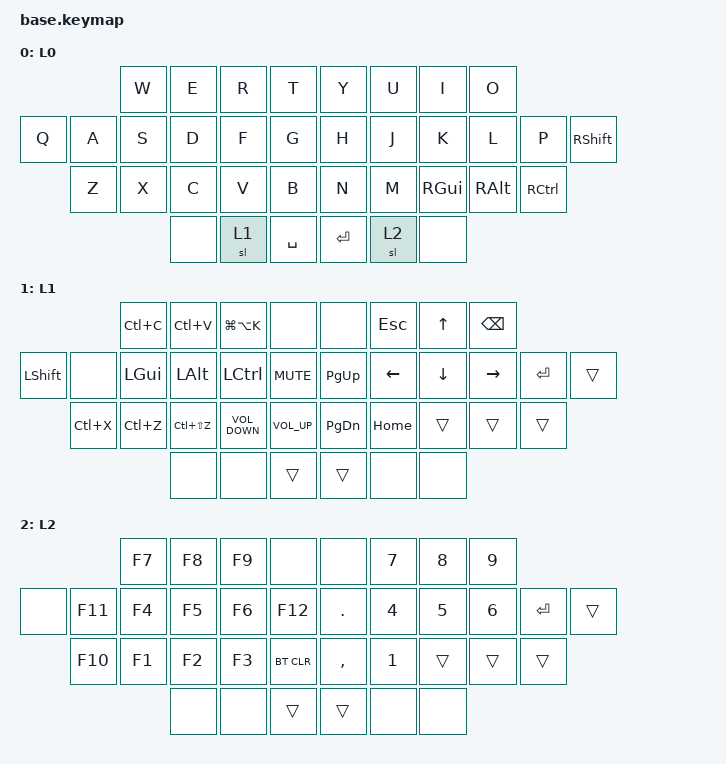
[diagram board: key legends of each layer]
#include <behaviors.dtsi>
#include <dt-bindings/zmk/keys.h>
#include <dt-bindings/zmk/bt.h>
#include <dt-bindings/zmk/outputs.h>

#define U_PST &kp LC(V)
#define U_CPY &kp LC(C)
#define U_CUT &kp LC(X)
#define U_UND &kp LC(Z)
#define U_RDO &kp LC(LS(Z))
#define U_MIC &kp LG(LA(K))

#define BASE 0
#define NAV 1
#define SYM 2
#define NUM 3

#define LOC_G 0
#define LOC_M (LOC_G+1)
#define LOC_P (LOC_G+2)

#define LOC_SQT 5
#define LOC_DQT (LOC_SQT+1)
#define LOC_V (LOC_SQT+2)

#define LOC_X 20
#define LOC_F (LOC_X+1)
#define LOC_L (LOC_X+2)
#define LOC_C (LOC_X+3)

#define LOC_U 26
#define LOC_O (LOC_U+1)
#define LOC_Y (LOC_U+2)
#define LOC_K (LOC_U+3)

#define LOC_NAV 31
#define LOC_SYM (LOC_NAV+3)


/*


                                       L0

            ╭─────┬─────┬─────┬─────╮      ╭─────┬─────┬─────┬─────╮
            │  W  │  E  │  R  │  T  │      │  Y  │  U  │  I  │  O  │ 
╭─────┬─────┼─────┼─────┼─────┼─────┤      ├─────┼─────┼─────┼─────┼─────┬─────╮
│  Q  │  A  │  S  │  D  │  F  │  G  │      │  H  │  J  │  K  │  L  │  P  │ shft│
╰─────┼─────┼─────┼─────┼─────┼─────┤      ├─────┼─────┼─────┼─────┼─────┼─────╯
      │  Z  │  X  │  C  │  V  │  B  │      │  N  │  M  | gui | alt │ ctrl│
      ╰─────┴─────┴─────┼─────┼─────┤      ├─────┼─────┼─────┴─────┴─────╯
                        │  L1 │ spc │      │ ret │  L2 │
                        ╰──┬──┴─────╯      ╰─────┴──┬──╯
                           ╰──────────{btc}─────────╯

                                       L1

            ╭─────┬─────┬─────┬─────╮      ╭─────┬─────┬─────┬─────╮
            │ cut │ cpy │ pst │ esc │      │ pgup│ del │  ↑  │ bspc│ 
╭─────┬─────┼─────┼─────┼─────┼─────┤      ├─────┼─────┼─────┼─────┼─────┬─────╮
│ shft│ / \ │ [ ] │ { } │ ( ) │ < > │      │ home│  ←  │  ↓  │  →  │ end │ shft│
╰─────┼─────┼─────┼─────┼─────┼─────┤      ├─────┼─────┼─────┼─────┼─────┼─────╯
      │ ctrl│ alt │ gui │ und │ rdo │      │ pgdn│ tab | gui | alt │ ctrl│
      ╰─────┴─────┴─────┼─────┼─────┤      ├─────┼─────┼─────┴─────┴─────╯
                        │  L1 │ spc │      │ ret │     │
                        ╰─────┴─────╯      ╰─────┴─────╯

                                       L2

            ╭─────┬─────┬─────┬─────╮      ╭─────┬─────┬─────┬─────╮
 {F12} {F11}│{F}7 │{F}8 │{F}9 │ - $ │      │ ~ ` │  !  │  &  │  |  │ 
╭──┴──┬──┴──┼─────┼─────┼─────┼─────┤      ├─────┼─────┼─────┼─────┼─────┬─────╮
│  =  │ * / │{F}4 │{F}5 │{F}6 │ + % │      │  '  │  "  │  ,  │  _  │  ;  │ shft│
╰─────┼─────┼─────┼─────┼─────┼─────┤      ├─────┼─────┼─────┼─────┼─────┼─────╯
      │  0  │{F}1 │{F}2 │{F}3 │  .  │      │ @ # │  ^  | gui | alt │ ctrl│
      ╰──┬──┴─────┴─────┼─────┼─────┤      ├─────┼─────┼─────┴─────┴─────╯
       {F10}            │     │ spc │      │ ret │  L2 │
                        ╰─────┴─────╯      ╰─────┴─────╯
*/
/ {
        keymap {
                compatible = "zmk,keymap";
                BASE {
                            label = "L0";
                            bindings = <
/*                                         ╭───────────────────┬───────────────────┬───────────────────╮╌╌╌╌╌╌╌╌╌╌╌╌╌╌╌╌╌╌╌╮        ╭╌╌╌╌╌╌╌╌╌╌╌╌╌╌╌╌╌╌╌╭───────────────────┬───────────────────┬───────────────────╮                                         */
                                                  &kp W                &kp E                &kp R              &kp T                      &kp Y               &kp U                &kp I               &kp O
/* ╭╌╌╌╌╌╌╌╌╌╌╌╌╌╌╌╌╌╌╌╭───────────────────┼───────────────────┼───────────────────┼───────────────────┼───────────────────╮        ╭───────────────────┼───────────────────┼───────────────────┼───────────────────┼───────────────────╮╌╌╌╌╌╌╌╌╌╌╌╌╌╌╌╌╌╌╌╮ */
          &kp Q                &kp A              &kp S                &kp D                &kp F              &kp G                      &kp H               &kp J                &kp K               &kp L               &kp P               &kp RSHFT
/* ╰╌╌╌╌╌╌╌╌╌╌╌╌╌╌╌╌╌╌╌├───────────────────┼───────────────────┼───────────────────┼───────────────────┼───────────────────┤        ├───────────────────┼───────────────────┼───────────────────┼───────────────────┼───────────────────┤╌╌╌╌╌╌╌╌╌╌╌╌╌╌╌╌╌╌╌╯ */
                               &kp Z              &kp X                &kp C                &kp V              &kp B                      &kp N               &kp M                &kp RGUI            &kp RALT            &kp RCTRL
/*                     ╰───────────────────┴───────────────────┼───────────────────┼───────────────────┼───────────────────┤        ├───────────────────┼───────────────────┼───────────────────┼───────────────────┴───────────────────╯                     */
                                                                       &none               &sl L1             &kp SPACE                  &kp ENTER            &sl L2              &none
/*                                                             ╰───────────────────┴───────────────────┴───────────────────╯        ╰───────────────────┴───────────────────┴───────────────────╯                                                             */
                             >;
                     };
                     NAV {
                             label = "L1";
                             bindings = <
/*                                         ╭───────────────────┬───────────────────┬───────────────────╮╌╌╌╌╌╌╌╌╌╌╌╌╌╌╌╌╌╌╌╮        ╭╌╌╌╌╌╌╌╌╌╌╌╌╌╌╌╌╌╌╌┬───────────────────┬───────────────────┬───────────────────╮                                         */
                                                  U_CPY               U_PST                U_MIC              &none                         &none             &kp ESC             &kp UP               &kp BSPC
/* ╭╌╌╌╌╌╌╌╌╌╌╌╌╌╌╌╌╌╌╌╭───────────────────┼───────────────────┼───────────────────┼───────────────────┼───────────────────╮        ╭───────────────────┼───────────────────┼───────────────────┼───────────────────┼───────────────────╮╌╌╌╌╌╌╌╌╌╌╌╌╌╌╌╌╌╌╌╮ */
          &kp LSHFT            &none             &kp LGUI              &kp LALT           &kp LCTRL          &kp C_MUTE                    &kp PG_UP           &kp LEFT            &kp DOWN             &kp RIGHT           &kp ENTER             &trans
/* ╰╌╌╌╌╌╌╌╌╌╌╌╌╌╌╌╌╌╌╌├───────────────────┼───────────────────┼───────────────────┼───────────────────┼───────────────────┤        ├───────────────────┼───────────────────┼───────────────────┼───────────────────┼───────────────────┤╌╌╌╌╌╌╌╌╌╌╌╌╌╌╌╌╌╌╌╯ */
                               U_CUT              U_UND               U_RDO          &kp C_VOLUME_DOWN   &kp C_VOLUME_UP                  &kp PG_DN           &kp HOME            &trans               &trans           &trans
/*                     ╰───────────────────┴───────────────────┼───────────────────┼───────────────────┼───────────────────┤        ├───────────────────┼───────────────────┼───────────────────┼───────────────────┴───────────────────╯                     */
                                                                      &none                &none               &trans                       &trans              &none            &none
/*                                                             ╰───────────────────┴───────────────────┴───────────────────╯        ╰───────────────────┴───────────────────┴───────────────────╯                                                             */
                             >;
                     };

                     NUM {
                             label = "L2";
                             bindings = <
/*                                         ╭───────────────────┬───────────────────┬───────────────────╮╌╌╌╌╌╌╌╌╌╌╌╌╌╌╌╌╌╌╌╮        ╭╌╌╌╌╌╌╌╌╌╌╌╌╌╌╌╌╌╌╌╭───────────────────┬───────────────────┬───────────────────╮                                         */
                                                  &kp F7              &kp F8               &kp F9              &none                        &none            &kp NUM_7            &kp NUM_8            &kp NUM_9
/* ╭╌╌╌╌╌╌╌╌╌╌╌╌╌╌╌╌╌╌╌╭───────────────────┼───────────────────┼───────────────────┼───────────────────┼───────────────────╮        ╭───────────────────┼───────────────────┼───────────────────┼───────────────────┼───────────────────╮╌╌╌╌╌╌╌╌╌╌╌╌╌╌╌╌╌╌╌╮ */
          &none               &kp F11             &kp F4              &kp F5               &kp F6              &kp F12                     &kp DOT           &kp NUM_4            &kp NUM_5            &kp NUM_6          &kp ENTER             &trans
/* ╰╌╌╌╌╌╌╌╌╌╌╌╌╌╌╌╌╌╌╌├───────────────────┼───────────────────┼───────────────────┼───────────────────┼───────────────────┤        ├───────────────────┼───────────────────┼───────────────────┼───────────────────┼───────────────────┤╌╌╌╌╌╌╌╌╌╌╌╌╌╌╌╌╌╌╌╯ */
                              &kp F10             &kp F1              &kp F2               &kp F3            &bt BT_CLR                   &kp COMMA          &kp NUM_1            &trans                &trans             &trans
/*                     ╰───────────────────┴───────────────────┼───────────────────┼───────────────────┼───────────────────┤        ├───────────────────┼───────────────────┼───────────────────┼───────────────────┴───────────────────╯                     */
                                                                      &none                &none               &trans                       &trans            &none               &none
/*                                                             ╰───────────────────┴───────────────────┴───────────────────╯        ╰───────────────────┴───────────────────┴───────────────────╯                                                             */
                             >;
                     };
      };
};
